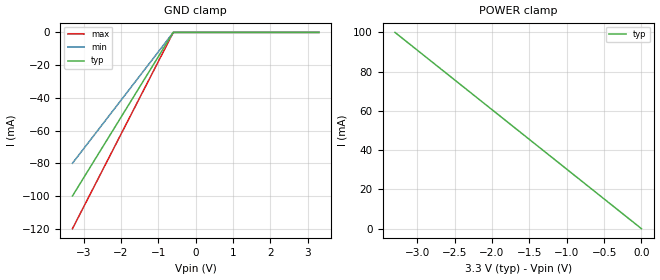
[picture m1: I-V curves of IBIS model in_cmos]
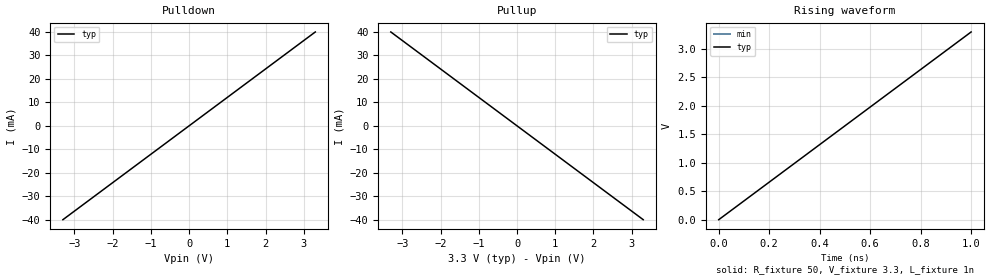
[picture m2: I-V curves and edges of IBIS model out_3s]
|************************************************************************
| A hand-written IBIS file for the tests of cuprite_wire_ibis. The values
| do not describe a real device.
|************************************************************************
[IBIS Ver]   5.0
[File name]   buffers.ibs
[File Rev]   1.0
[Date]   2026-11-22
[Source]   Written by hand
   for the tests.
[Notes]   Two components share the models.
[Notes]   A keyword of text may repeat.
[Disclaimer]   Not a real device.
[Copyright]   None.
[Comment Char]  !_char
! From here on, `!` starts a comment and `|` is ordinary text.
[Component]   Buffer8
[Manufacturer]  Example Corp.
[Package]
! variable  typ   min   max
R_pkg   0.2   0.1   0.3
L_pkg   5nH   4nH   6nH
C_pkg   1.0pF   NA   NA
! Not the end of a block: [Define Package Model] ends with [End Package Model].
[Package Model] pkg_matrix
[Pin]  signal_name  model_name  R_pin   L_pin   C_pin
1   A0   in_cmos   0.1   NA   0.5p
2   Y0   out_3s   100m   3.5n   0.6p
3   IO   io_sel   NA   NA   NA
4   VCC   POWER   NA   NA   NA
5   GND   gnd   NA   NA   NA
6   NC1   NC   NA   NA   NA
[Diff Pin]  inv_pin  vdiff  tdelay_typ  tdelay_min  tdelay_max
1   2   0.1V   NA   NA   NA
[Define Package Model] pkg_matrix
[Manufacturer]  Someone else
[Pin Numbers]
1
2
[Model Data]
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[End Model Data]
[End Package Model]
[Component]   Small
[Manufacturer]  Example Corp.
[Package]
R_pkg   10m   NA   NA
L_pkg   1n   NA   NA
C_pkg   0.1p   NA   NA
[Pin]  signal_name  model_name
A1   OUT   out_3s
A2   GND   GND
[Model Selector] io_sel
in_cmos   CMOS input
out_3s   3-state output
[Submodel]   dyn_clamp
Submodel_type   Dynamic_clamp
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[Model] ignored after the end
! Models and submodels in the file (4): in_cmos (input), out_3s (3-state), dyn_clamp (Dynamic_clamp), ignored (?)
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[Model]   in_cmos
Model_type   input
Polarity   Non-Inverting
Vinl = 0.8V
Vinh=2.0V
C_comp   2.0pF   1.5pF   2.5pF
C_comp_pullup   1.0pF   NA   NA
[Temperature Range]  25  85  0
[Voltage Range]  3.3V  3.0V  3.6V
[Model Spec]
! subparameter  typ  min  max
Vinh   2.1  2.0  2.2
Vmeas   1.5  NA   NA
[GND Clamp]
!  V   I(typ)   I(min)   I(max)
-3.3V     -100mA     -80mA      -120mA
-600mV    0A         0A         0A
3.3V      0A         0A         0A
[POWER Clamp]
-3.3V     100mA      NA         NA
0V        0A         NA         NA
[Model]   out_3s
Model_type   3-state
Polarity   Inverting
Enable   Active-Low
Vmeas = 1.65
Cref = 0
Rref = 50
Vref = 0
C_comp_pullup   1p   NA   NA
C_comp_pulldown 2p   1.5p   NA
[Pullup Reference]   3.3   3.0   3.6
[Pulldown Reference]   0   0   0
[POWER Clamp Reference] 3.3   3.0   3.6
[GND Clamp Reference]   0   0   0
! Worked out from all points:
!   slope of the pulldown table from 0 to 0.495 V, typ, clamps not added: 82.5 ohm
!   slope of the pullup table from 0 to 0.495 V, typ, clamps not added: 82.5 ohm
!   rising waveform, R_fixture 50, V_fixture 3.3, L_fixture 1n: 20-80 % time 600ps typ, NA min, NA max; typ from 0 V to 3.3 V
[Pulldown]
-3.3V     -40mA      NA         NA
0V        0A         NA         NA
3.3V      40mA       NA         NA
[Pullup]
-3.3V     40mA       NA         NA
0V        0A         NA         NA
3.3V      -40mA      NA         NA
[Ramp]
dV/dt_r   1.98/0.5n   1.8/0.6n   2.16/0.4n
dV/dt_f   1.98/0.4n   NA   NA
R_load = 50
[Rising Waveform]
R_fixture = 50
V_fixture = 3.3
V_fixture_min = 3.0
V_fixture_max = 3.6
C_fixture = 0p
L_fixture = 1n
0s        0V         NA         NA
1ns       3.3V       3V         NA
